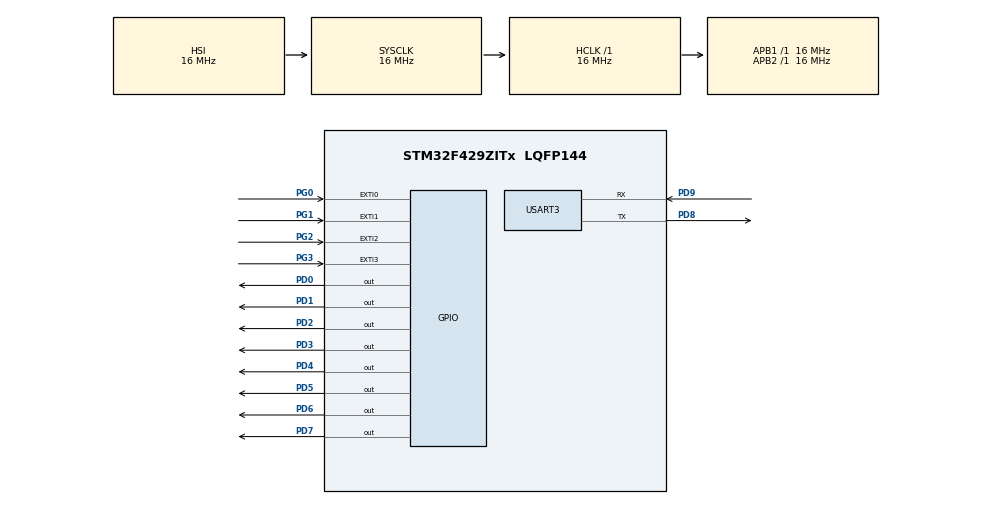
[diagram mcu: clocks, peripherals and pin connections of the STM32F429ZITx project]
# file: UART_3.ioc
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Mcu.Family=STM32F4
Mcu.Name=STM32F429ZITx
Mcu.Package=LQFP144
NVIC.EXTI0_IRQn=true\:0\:0\:false\:false\:true\:true\:true\:true
NVIC.EXTI1_IRQn=true\:0\:0\:false\:false\:true\:true\:true\:true
NVIC.EXTI2_IRQn=true\:0\:0\:false\:false\:true\:true\:true\:true
NVIC.EXTI3_IRQn=true\:0\:0\:false\:false\:true\:true\:true\:true
NVIC.PriorityGroup=NVIC_PRIORITYGROUP_4
NVIC.USART3_IRQn=true\:0\:0\:false\:false\:true\:true\:true\:true
PA13.Mode=Serial_Wire
PA13.Signal=SYS_JTMS-SWDIO
PA14.Mode=Serial_Wire
PA14.Signal=SYS_JTCK-SWCLK
PD0.GPIO_ModeDefaultOutputPP=GPIO_MODE_OUTPUT_PP
PD0.GPIO_PuPd=GPIO_PULLUP
PD0.GPIO_Speed=GPIO_SPEED_FREQ_HIGH
PD0.PinState=GPIO_PIN_RESET
PD0.Signal=GPIO_Output
PD1.GPIO_ModeDefaultOutputPP=GPIO_MODE_OUTPUT_PP
PD1.GPIO_PuPd=GPIO_PULLUP
PD1.GPIO_Speed=GPIO_SPEED_FREQ_HIGH
PD1.PinState=GPIO_PIN_RESET
PD1.Signal=GPIO_Output
PD2.GPIO_ModeDefaultOutputPP=GPIO_MODE_OUTPUT_PP
PD2.GPIO_PuPd=GPIO_PULLUP
PD2.GPIO_Speed=GPIO_SPEED_FREQ_HIGH
PD2.PinState=GPIO_PIN_RESET
PD2.Signal=GPIO_Output
PD3.GPIO_ModeDefaultOutputPP=GPIO_MODE_OUTPUT_PP
PD3.GPIO_PuPd=GPIO_PULLUP
PD3.GPIO_Speed=GPIO_SPEED_FREQ_HIGH
PD3.PinState=GPIO_PIN_RESET
PD3.Signal=GPIO_Output
PD4.GPIO_ModeDefaultOutputPP=GPIO_MODE_OUTPUT_PP
PD4.GPIO_PuPd=GPIO_PULLUP
PD4.GPIO_Speed=GPIO_SPEED_FREQ_HIGH
PD4.PinState=GPIO_PIN_RESET
PD4.Signal=GPIO_Output
PD5.GPIO_ModeDefaultOutputPP=GPIO_MODE_OUTPUT_PP
PD5.GPIO_PuPd=GPIO_PULLUP
PD5.GPIO_Speed=GPIO_SPEED_FREQ_HIGH
PD5.PinState=GPIO_PIN_RESET
PD5.Signal=GPIO_Output
PD6.GPIO_ModeDefaultOutputPP=GPIO_MODE_OUTPUT_PP
PD6.GPIO_PuPd=GPIO_PULLUP
PD6.GPIO_Speed=GPIO_SPEED_FREQ_HIGH
PD6.PinState=GPIO_PIN_RESET
PD6.Signal=GPIO_Output
PD7.GPIO_ModeDefaultOutputPP=GPIO_MODE_OUTPUT_PP
PD7.GPIO_PuPd=GPIO_PULLUP
PD7.GPIO_Speed=GPIO_SPEED_FREQ_HIGH
PD7.PinState=GPIO_PIN_RESET
PD7.Signal=GPIO_Output
PD8.Mode=Asynchronous
PD8.Signal=USART3_TX
PD9.Mode=Asynchronous
PD9.Signal=USART3_RX
PG0.GPIO_ModeDefaultEXTI=GPIO_MODE_IT_FALLING
PG0.GPIO_PuPd=GPIO_NOPULL
PG0.Signal=GPXTI0
PG1.GPIO_ModeDefaultEXTI=GPIO_MODE_IT_FALLING
PG1.GPIO_PuPd=GPIO_NOPULL
PG1.Signal=GPXTI1
PG2.GPIO_ModeDefaultEXTI=GPIO_MODE_IT_FALLING
PG2.GPIO_PuPd=GPIO_NOPULL
PG2.Signal=GPXTI2
PG3.GPIO_ModeDefaultEXTI=GPIO_MODE_IT_FALLING
PG3.GPIO_PuPd=GPIO_NOPULL
PG3.Signal=GPXTI3
ProjectManager.HeapSize=0x200
ProjectManager.StackSize=0x400
ProjectManager.TargetToolchain=STM32CubeIDE
RCC.AHBFreq_Value=16000000
RCC.APB1Freq_Value=16000000
RCC.APB2Freq_Value=16000000
RCC.CortexFreq_Value=16000000
RCC.HSE_VALUE=25000000
RCC.HSI_VALUE=16000000
RCC.LSE_VALUE=32768
RCC.SYSCLKFreq_VALUE=16000000
RCC.VCOOutputFreq_Value=192000000
USART3.VirtualMode=VM_ASYNC
board=custom

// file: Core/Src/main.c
/* USER CODE BEGIN Header */
/**
  ******************************************************************************
  * @file           : main.c
  * @brief          : Main program body
  ******************************************************************************
  * @attention
  *
  * Copyright (c) 2023 STMicroelectronics.
  * All rights reserved.
  *
  * This software is licensed under terms that can be found in the LICENSE file
  * in the root directory of this software component.
  * If no LICENSE file comes with this software, it is provided AS-IS.
  *
  ******************************************************************************
  */
/* USER CODE END Header */
#include "main.h"

/* USER CODE BEGIN PD */

#define TxBufferSize (countof(TxBuffer) - 1)
#define RxBufferSize 0xFF
#define countof(a) (sizeof(a) / sizeof(*(a)))

/* USER CODE END PD */

UART_HandleTypeDef huart3;

/* USER CODE BEGIN PV */

uint8_t TxBuffer[] = "\n\rUART Example 3 (Transmission Success !!)\n\r\n\r";
uint8_t RxBuffer[RxBufferSize];

/* USER CODE END PV */

void SystemClock_Config(void);
static void MX_GPIO_Init(void);
static void MX_USART3_UART_Init(void);
/* USER CODE BEGIN PFP */

void LED_OnOff(int, int);

/* USER CODE END PFP */

int main(void)
{

  /* MCU Configuration--------------------------------------------------------*/

  /* Reset of all peripherals, Initializes the Flash interface and the Systick. */
  HAL_Init();

  /* Configure the system clock */
  SystemClock_Config();

  /* Initialize all configured peripherals */
  MX_GPIO_Init();
  MX_USART3_UART_Init();
  /* USER CODE BEGIN 2 */

  LED_OnOff(LED_ALL, 500);
  HAL_UART_Transmit(&huart3, (uint8_t*)TxBuffer, TxBufferSize, 0xFFFF);

  /* USER CODE END 2 */

  /* Infinite loop */
  /* USER CODE BEGIN WHILE */
  while (1)
  {
	  if(HAL_UART_Receive(&huart3, (uint8_t*)RxBuffer,1, 5000)== HAL_OK)
	  {
	  HAL_UART_Transmit(&huart3, (uint8_t*)RxBuffer, 1, 5000);
	  }

    /* USER CODE END WHILE */

  }
}

void SystemClock_Config(void)
{
  RCC_OscInitTypeDef RCC_OscInitStruct = {0};
  RCC_ClkInitTypeDef RCC_ClkInitStruct = {0};

  /** Configure the main internal regulator output voltage
  */
  __HAL_RCC_PWR_CLK_ENABLE();
  __HAL_PWR_VOLTAGESCALING_CONFIG(PWR_REGULATOR_VOLTAGE_SCALE3);

  /** Initializes the RCC Oscillators according to the specified parameters
  * in the RCC_OscInitTypeDef structure.
  */
  RCC_OscInitStruct.OscillatorType = RCC_OSCILLATORTYPE_HSI;
  RCC_OscInitStruct.HSIState = RCC_HSI_ON;
  RCC_OscInitStruct.HSICalibrationValue = RCC_HSICALIBRATION_DEFAULT;
  RCC_OscInitStruct.PLL.PLLState = RCC_PLL_NONE;
  if (HAL_RCC_OscConfig(&RCC_OscInitStruct) != HAL_OK)
  {
    Error_Handler();
  }

  /** Initializes the CPU, AHB and APB buses clocks
  */
  RCC_ClkInitStruct.ClockType = RCC_CLOCKTYPE_HCLK|RCC_CLOCKTYPE_SYSCLK
                              |RCC_CLOCKTYPE_PCLK1|RCC_CLOCKTYPE_PCLK2;
  RCC_ClkInitStruct.SYSCLKSource = RCC_SYSCLKSOURCE_HSI;
  RCC_ClkInitStruct.AHBCLKDivider = RCC_SYSCLK_DIV1;
  RCC_ClkInitStruct.APB1CLKDivider = RCC_HCLK_DIV1;
  RCC_ClkInitStruct.APB2CLKDivider = RCC_HCLK_DIV1;

  if (HAL_RCC_ClockConfig(&RCC_ClkInitStruct, FLASH_LATENCY_0) != HAL_OK)
  {
    Error_Handler();
  }
}

static void MX_USART3_UART_Init(void)
{

  huart3.Instance = USART3;
  huart3.Init.BaudRate = 115200;
  huart3.Init.WordLength = UART_WORDLENGTH_8B;
  huart3.Init.StopBits = UART_STOPBITS_1;
  huart3.Init.Parity = UART_PARITY_NONE;
  huart3.Init.Mode = UART_MODE_TX_RX;
  huart3.Init.HwFlowCtl = UART_HWCONTROL_NONE;
  huart3.Init.OverSampling = UART_OVERSAMPLING_16;
  if (HAL_UART_Init(&huart3) != HAL_OK)
  {
    Error_Handler();
  }

}

static void MX_GPIO_Init(void)
{
  GPIO_InitTypeDef GPIO_InitStruct = {0};

  /* GPIO Ports Clock Enable */
  __HAL_RCC_GPIOG_CLK_ENABLE();
  __HAL_RCC_GPIOD_CLK_ENABLE();
  __HAL_RCC_GPIOA_CLK_ENABLE();

  /*Configure GPIO pin Output Level */
  HAL_GPIO_WritePin(GPIOD, GPIO_PIN_0|GPIO_PIN_1|GPIO_PIN_2|GPIO_PIN_3
                          |GPIO_PIN_4|GPIO_PIN_5|GPIO_PIN_6|GPIO_PIN_7, GPIO_PIN_RESET);

  /*Configure GPIO pins : PG0 PG1 PG2 PG3 */
  GPIO_InitStruct.Pin = GPIO_PIN_0|GPIO_PIN_1|GPIO_PIN_2|GPIO_PIN_3;
  GPIO_InitStruct.Mode = GPIO_MODE_IT_FALLING;
  GPIO_InitStruct.Pull = GPIO_NOPULL;
  HAL_GPIO_Init(GPIOG, &GPIO_InitStruct);

  /*Configure GPIO pins : PD0 PD1 PD2 PD3
                           PD4 PD5 PD6 PD7 */
  GPIO_InitStruct.Pin = GPIO_PIN_0|GPIO_PIN_1|GPIO_PIN_2|GPIO_PIN_3
                          |GPIO_PIN_4|GPIO_PIN_5|GPIO_PIN_6|GPIO_PIN_7;
  GPIO_InitStruct.Mode = GPIO_MODE_OUTPUT_PP;
  GPIO_InitStruct.Pull = GPIO_PULLUP;
  GPIO_InitStruct.Speed = GPIO_SPEED_FREQ_HIGH;
  HAL_GPIO_Init(GPIOD, &GPIO_InitStruct);

  /* EXTI interrupt init*/
  HAL_NVIC_SetPriority(EXTI0_IRQn, 0, 0);
  HAL_NVIC_EnableIRQ(EXTI0_IRQn);

  HAL_NVIC_SetPriority(EXTI1_IRQn, 0, 0);
  HAL_NVIC_EnableIRQ(EXTI1_IRQn);

  HAL_NVIC_SetPriority(EXTI2_IRQn, 0, 0);
  HAL_NVIC_EnableIRQ(EXTI2_IRQn);

  HAL_NVIC_SetPriority(EXTI3_IRQn, 0, 0);
  HAL_NVIC_EnableIRQ(EXTI3_IRQn);

}

/* USER CODE BEGIN 4 */

void LED_OnOff(int led, int interval)
{
	HAL_GPIO_WritePin(GPIO_LED, led, GPIO_PIN_SET );
	HAL_GPIO_WritePin(GPIO_LED_Nucleo, led, GPIO_PIN_SET );
	HAL_Delay(interval);
	HAL_GPIO_WritePin(GPIO_LED, led, GPIO_PIN_RESET );
	HAL_GPIO_WritePin(GPIO_LED_Nucleo, led, GPIO_PIN_RESET );
}

/* USER CODE END 4 */

void Error_Handler(void)
{
  __disable_irq();
  while (1)
  {
  }
}
